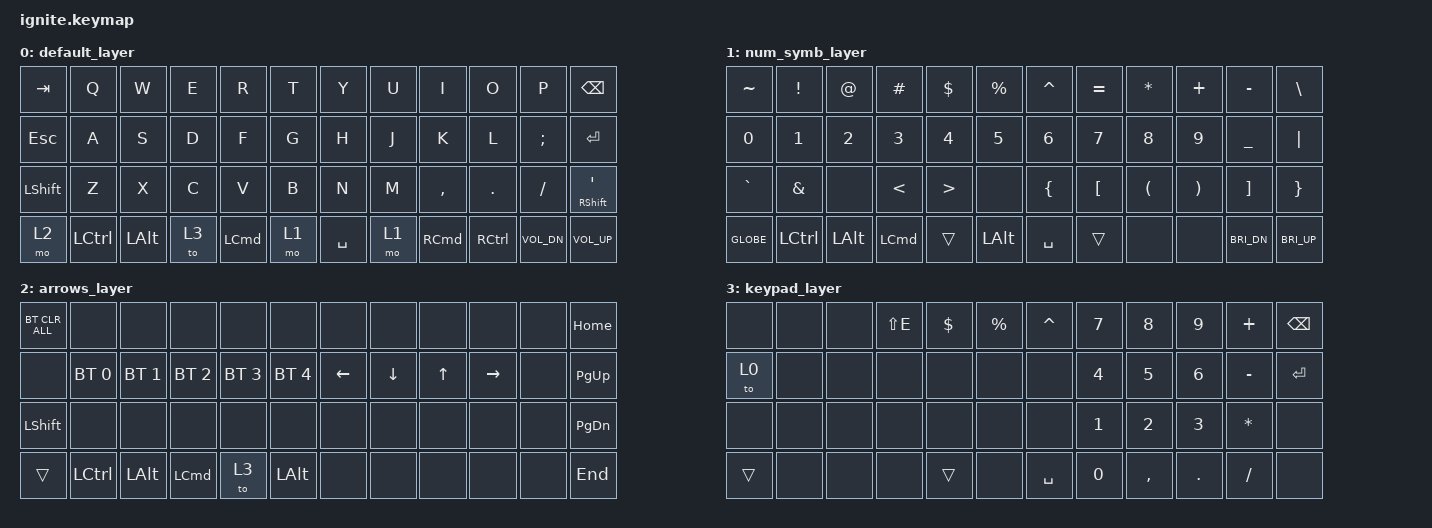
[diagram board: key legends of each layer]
#include <behaviors.dtsi>
#include <dt-bindings/zmk/keys.h>
#include <dt-bindings/zmk/bt.h>

/ {
        keymap {
                compatible = "zmk,keymap";

                default_layer {
// --------------------------------------------------------------------------------------------------------------------------------------------------------
// |  TAB         |    Q       |    W       |    E       |    R    |    T    |||||||||||    Y    |   U     |    I    |    O       |    P       |   BSPC   |
// |  ESC         |    A       |    S       |    D       |    F    |    G    |||||||||||    H    |   J     |    K    |    L       |  ;  :      |   ENTER  |
// |  SHFT        |    Z       |    X       |    C       |    V    |    B    |||||||||||    N    |   M     |  ,   <  |  .   >     |  /  ?      | SHFT ' " |
// | LAYER 2      |   CTRL     |   ALT      |  CMD       | LAYER 1 |   ALT   |||||||||||  SPACE  | LAYER 1 |   CMD   |   CTRL     |  VOL DOWN  | VOL UP   |
// --------------------------------------------------------------------------------------------------------------------------------------------------------
                        bindings = <
    &kp TAB        &kp Q        &kp W        &kp E        &kp R        &kp T            &kp Y      &kp U     &kp I        &kp O        &kp P        &kp BSPC
    &kp ESC        &kp A        &kp S        &kp D        &kp F        &kp G            &kp H      &kp J     &kp K        &kp L        &kp SEMI     &kp RET
    &kp LSHFT      &kp Z        &kp X        &kp C        &kp V        &kp B            &kp N      &kp M     &kp COMMA    &kp DOT      &kp FSLH     &mt RSHIFT SQT
    &mo 2          &kp LCTRL    &kp LALT     &to 3        &kp LCMD     &mo 1            &kp SPACE  &mo 1     &kp RCMD     &kp RCTRL    &kp C_VOL_DN &kp C_VOL_UP
                        >;
                };
                num_symb_layer {
// --------------------------------------------------------------------------------------------------------------------------------------------------------
// |   ~          |    !       |    @       |    #       |    $    |    %    |||||||||||    ^    |    =    |    *    |     +      |      -     |    \     |
// |   0          |    1       |    2       |    3       |    4    |    5    |||||||||||    6    |    7    |    8    |     9      |      _     |    |     |
// |   `          |    &       |            |    <       |    >    |         |||||||||||    {    |    [    |    (    |     )      |      ]     |    }     |
// | GLOBE        |  CTRL      |  ALT       |  CMD       |  TRANS  | ALT     |||||||||||  SPACE  |  TRANS  |         |            |   BRI DOWN |  BRI UP  |
// --------------------------------------------------------------------------------------------------------------------------------------------------------
                        bindings = <
    &kp TILDE      &kp EXCL     &kp AT       &kp HASH     &kp DLLR     &kp PRCNT        &kp CARET  &kp EQUAL &kp ASTRK    &kp PLUS     &kp MINUS    &kp BSLH
    &kp N0         &kp N1       &kp N2       &kp N3       &kp N4       &kp N5           &kp N6     &kp N7    &kp N8       &kp N9       &kp UNDER    &kp PIPE
    &kp GRAVE      &kp AMPS     &none        &kp LT       &kp GT       &none            &kp LBRC   &kp LBKT  &kp LPAR     &kp RPAR     &kp RBKT     &kp RBRC
    &kp GLOBE      &kp LCTRL    &kp LALT     &kp LCMD     &trans       &kp LALT         &kp SPACE  &trans    &none        &none        &kp C_BRI_DN &kp C_BRI_UP
                        >;
                };
                arrows_layer {
// --------------------------------------------------------------------------------------------------------------------------------------------------------
// | CLEAR BT     |            |            |            |         |         |||||||||||         |         |         |            |            | HOME     |
// |              |  BT 0      |   BT 1     |   BT 2     |  BT 3   |   BT 4  |||||||||||  LEFT   | DOWN    |   UP    |  RIGHT     |            | PG UP    |
// | SHFT         |            |            |            |         |         |||||||||||         |         |         |            |            | PG DOWN  |
// |              |  CTRL      |  ALT       |  CMD       | LAYER 3 |  ALT    |||||||||||         |         |         |            |            | END      |
// --------------------------------------------------------------------------------------------------------------------------------------------------------
                        bindings = <
    &bt BT_CLR_ALL &none        &none        &none        &none        &none            &none      &none     &none        &none        &none        &kp HOME
    &none          &bt BT_SEL 0 &bt BT_SEL 1 &bt BT_SEL 2 &bt BT_SEL 3 &bt BT_SEL 4     &kp LEFT   &kp DOWN  &kp UP       &kp RIGHT    &none        &kp PG_UP
    &kp LSHFT      &none        &none        &none        &none        &none            &none      &none     &none        &none        &none        &kp PG_DN
    &trans         &kp LCTRL    &kp LALT     &kp LCMD     &to 3        &kp LALT         &none      &none     &none        &none        &none        &kp END
                        >;
                };
                keypad_layer {
// --------------------------------------------------------------------------------------------------------------------------------------------------------
// |              |            |            |    E       |    $    |   %     |||||||||||   ^     |    7    |    8    |     9      |     +      |  BSPC    |
// | LAYER 0      |            |            |            |         |         |||||||||||         |    4    |    5    |     6      |     -      |  ENTER   |
// |   `          |            |            |            |         |         |||||||||||         |    1    |    2    |     3      |     *      |          |
// |              |            |            |            |         |         |||||||||||  SPACE  |    0    |    ,    |     .      |     /      |          |
// --------------------------------------------------------------------------------------------------------------------------------------------------------
                        bindings = <
    &none          &none        &none        &kp LS(E)    &kp DLLR  &kp PRCNT           &kp CARET  &kp N7    &kp N8       &kp N9       &kp PLUS     &kp BSPC
    &to 0          &none        &none        &none        &none     &none               &none      &kp N4    &kp N5       &kp N6       &kp MINUS    &kp RET
    &none          &none        &none        &none        &none     &none               &none      &kp N1    &kp N2       &kp N3       &kp ASTRK    &none
    &trans         &none        &none        &none        &trans    &none               &kp SPACE  &kp N0    &kp COMMA    &kp DOT      &kp FSLH     &none
                        >;
                };
        };
};

